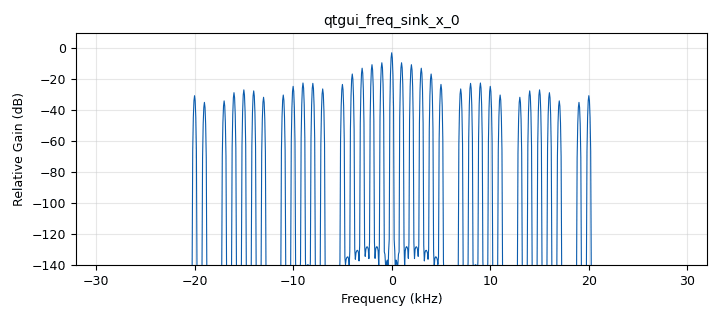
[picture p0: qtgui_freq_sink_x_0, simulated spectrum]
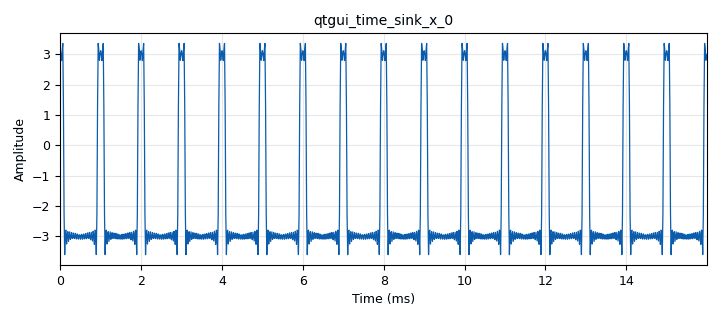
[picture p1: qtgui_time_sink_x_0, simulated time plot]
options:
  parameters:
    generate_options: qt_gui
    id: ondaquadra
    output_language: python
    title: Not titled yet
  states: {}

blocks:
- name: samp_rate
  id: variable
  parameters:
    value: '64000'
  states: {}
- name: analog_sig_source_x_0
  id: analog_sig_source_x
  parameters:
    amp: '1'
    freq: '0'
    offset: '0'
    phase: '0'
    samp_rate: samp_rate
    type: float
    waveform: analog.GR_CONST_WAVE
  states: {}
- name: analog_sig_source_x_0_0
  id: analog_sig_source_x
  parameters:
    amp: '1.909'
    freq: '1000'
    offset: '0'
    phase: '0'
    samp_rate: samp_rate
    type: float
    waveform: analog.GR_COS_WAVE
  states: {}
- name: analog_sig_source_x_0_0_0
  id: analog_sig_source_x
  parameters:
    amp: '1.6539'
    freq: '2000'
    offset: '0'
    phase: '0'
    samp_rate: samp_rate
    type: float
    waveform: analog.GR_COS_WAVE
  states: {}
- name: analog_sig_source_x_0_0_1
  id: analog_sig_source_x
  parameters:
    amp: '1.2732'
    freq: '3000'
    offset: '0'
    phase: '0'
    samp_rate: samp_rate
    type: float
    waveform: analog.GR_COS_WAVE
  states: {}
- name: analog_sig_source_x_0_0_2
  id: analog_sig_source_x
  parameters:
    amp: '0.8269'
    freq: '4000'
    offset: '0'
    phase: '0'
    samp_rate: samp_rate
    type: float
    waveform: analog.GR_COS_WAVE
  states: {}
- name: analog_sig_source_x_0_0_3
  id: analog_sig_source_x
  parameters:
    amp: '0.3819'
    freq: '5000'
    offset: '0'
    phase: '0'
    samp_rate: samp_rate
    type: float
    waveform: analog.GR_COS_WAVE
  states: {}
- name: analog_sig_source_x_0_0_3_0
  id: analog_sig_source_x
  parameters:
    amp: '0.4134'
    freq: '8000'
    offset: '0'
    phase: '3.14'
    samp_rate: samp_rate
    type: float
    waveform: analog.GR_COS_WAVE
  states: {}
- name: analog_sig_source_x_0_0_3_1
  id: analog_sig_source_x
  parameters:
    amp: '0.4244'
    freq: '9000'
    offset: '0'
    phase: '3.14'
    samp_rate: samp_rate
    type: float
    waveform: analog.GR_COS_WAVE
  states: {}
- name: analog_sig_source_x_0_0_3_1_0
  id: analog_sig_source_x
  parameters:
    amp: '0.3307'
    freq: '10000'
    offset: '0'
    phase: '3.14'
    samp_rate: samp_rate
    type: float
    waveform: analog.GR_COS_WAVE
  states: {}
- name: analog_sig_source_x_0_0_3_1_1
  id: analog_sig_source_x
  parameters:
    amp: '0.1736'
    freq: '11000'
    offset: '0'
    phase: '3.14'
    samp_rate: samp_rate
    type: float
    waveform: analog.GR_COS_WAVE
  states: {}
- name: analog_sig_source_x_0_0_3_1_2
  id: analog_sig_source_x
  parameters:
    amp: '0.14690'
    freq: '13000'
    offset: '0'
    phase: '0'
    samp_rate: samp_rate
    type: float
    waveform: analog.GR_COS_WAVE
  states: {}
- name: analog_sig_source_x_0_0_3_1_2_0
  id: analog_sig_source_x
  parameters:
    amp: '0.2362'
    freq: '14000'
    offset: '0'
    phase: '0'
    samp_rate: samp_rate
    type: float
    waveform: analog.GR_COS_WAVE
  states: {}
- name: analog_sig_source_x_0_0_3_1_2_1
  id: analog_sig_source_x
  parameters:
    amp: '0.2546'
    freq: '15000'
    offset: '0'
    phase: '0'
    samp_rate: samp_rate
    type: float
    waveform: analog.GR_COS_WAVE
  states: {}
- name: analog_sig_source_x_0_0_3_1_2_2
  id: analog_sig_source_x
  parameters:
    amp: '0.2067'
    freq: '16000'
    offset: '0'
    phase: '0'
    samp_rate: samp_rate
    type: float
    waveform: analog.GR_COS_WAVE
  states: {}
- name: analog_sig_source_x_0_0_3_1_2_3
  id: analog_sig_source_x
  parameters:
    amp: '0.112344'
    freq: '17000'
    offset: '0'
    phase: '0'
    samp_rate: samp_rate
    type: float
    waveform: analog.GR_COS_WAVE
  states: {}
- name: analog_sig_source_x_0_0_3_1_2_4
  id: analog_sig_source_x
  parameters:
    amp: '0.10051'
    freq: '19000'
    offset: '0'
    phase: '3.14'
    samp_rate: samp_rate
    type: float
    waveform: analog.GR_COS_WAVE
  states: {}
- name: analog_sig_source_x_0_0_3_1_2_5
  id: analog_sig_source_x
  parameters:
    amp: '0.16539'
    freq: '20000'
    offset: '0'
    phase: '3.14'
    samp_rate: samp_rate
    type: float
    waveform: analog.GR_COS_WAVE
  states: {}
- name: analog_sig_source_x_0_0_4
  id: analog_sig_source_x
  parameters:
    amp: '0.2728'
    freq: '7000'
    offset: '0'
    phase: '3.14'
    samp_rate: samp_rate
    type: float
    waveform: analog.GR_COS_WAVE
  states: {}
- name: analog_sig_source_x_1
  id: analog_sig_source_x
  parameters:
    amp: '3'
    freq: '0'
    offset: '0'
    phase: '0'
    samp_rate: samp_rate
    type: float
    waveform: analog.GR_CONST_WAVE
  states: {}
- name: blocks_add_xx_0
  id: blocks_add_xx
  parameters:
    num_inputs: '18'
    type: float
  states: {}
- name: blocks_sub_xx_0
  id: blocks_sub_xx
  parameters:
    type: float
  states: {}
- name: blocks_throttle_0
  id: blocks_throttle
  parameters:
    samples_per_second: samp_rate
    type: float
  states: {}
- name: qtgui_freq_sink_x_0
  id: qtgui_freq_sink_x
  parameters:
    bw: samp_rate
    fc: '0'
    fftsize: '1024'
    type: float
  states: {}
- name: qtgui_time_sink_x_0
  id: qtgui_time_sink_x
  parameters:
    autoscale: 'True'
    size: '1024'
    srate: samp_rate
    type: float
  states: {}

connections:
- [analog_sig_source_x_0, '0', blocks_add_xx_0, '0']
- [analog_sig_source_x_0_0, '0', blocks_add_xx_0, '1']
- [analog_sig_source_x_0_0_0, '0', blocks_add_xx_0, '2']
- [analog_sig_source_x_0_0_1, '0', blocks_add_xx_0, '3']
- [analog_sig_source_x_0_0_2, '0', blocks_add_xx_0, '4']
- [analog_sig_source_x_0_0_3, '0', blocks_add_xx_0, '5']
- [analog_sig_source_x_0_0_3_0, '0', blocks_add_xx_0, '7']
- [analog_sig_source_x_0_0_3_1, '0', blocks_add_xx_0, '8']
- [analog_sig_source_x_0_0_3_1_0, '0', blocks_add_xx_0, '9']
- [analog_sig_source_x_0_0_3_1_1, '0', blocks_add_xx_0, '10']
- [analog_sig_source_x_0_0_3_1_2, '0', blocks_add_xx_0, '11']
- [analog_sig_source_x_0_0_3_1_2_0, '0', blocks_add_xx_0, '12']
- [analog_sig_source_x_0_0_3_1_2_1, '0', blocks_add_xx_0, '13']
- [analog_sig_source_x_0_0_3_1_2_2, '0', blocks_add_xx_0, '14']
- [analog_sig_source_x_0_0_3_1_2_3, '0', blocks_add_xx_0, '15']
- [analog_sig_source_x_0_0_3_1_2_4, '0', blocks_add_xx_0, '16']
- [analog_sig_source_x_0_0_3_1_2_5, '0', blocks_add_xx_0, '17']
- [analog_sig_source_x_0_0_4, '0', blocks_add_xx_0, '6']
- [analog_sig_source_x_1, '0', blocks_sub_xx_0, '1']
- [blocks_add_xx_0, '0', blocks_sub_xx_0, '0']
- [blocks_sub_xx_0, '0', blocks_throttle_0, '0']
- [blocks_throttle_0, '0', qtgui_freq_sink_x_0, '0']
- [blocks_throttle_0, '0', qtgui_time_sink_x_0, '0']

metadata:
  file_format: 1
  grc_version: 3.10.5.1
